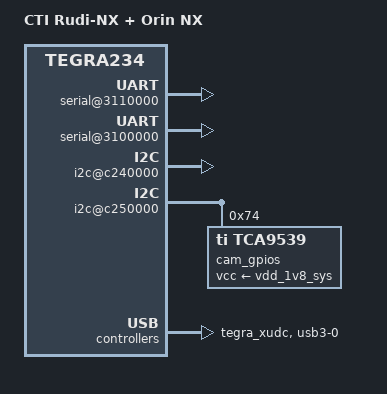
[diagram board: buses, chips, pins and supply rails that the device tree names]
/*
 * Copyright (c) 2023, Connect Tech Inc.  All rights reserved.
 *
 * This program is free software; you can redistribute it and/or modify it
 * under the terms and conditions of the GNU General Public License,
 * version 2, as published by the Free Software Foundation.
 *
 * This program is distributed in the hope it will be useful, but WITHOUT
 * ANY WARRANTY; without even the implied warranty of MERCHANTABILITY or
 * FITNESS FOR A PARTICULAR PURPOSE.  See the GNU General Public License for
 * more details.
 *
 * You should have received a copy of the GNU General Public License
 * along with this program.  If not, see <http://www.gnu.org/licenses/>.
 */

#include "tegra234-orin-nx-cti-base.dtsi"

/{
    nvidia,dtsfilename = "tegra234-orin-nx-cti-NGX010.dts";
    
    model = "CTI Rudi-NX + Orin NX";
    //enable serial connections
    // UART 0 /dev/ttyTHS1
    serial@3110000 {
        status = "okay";
    };
    // UART 1 /dev/ttyTHS0
    serial@3100000 {/* UARTA, for 40 pin header */
        status = "okay";
    };
    
    fixed-regulators {
        regulator@200 {
            /delete-property/ gpio;
        };
    };
    
    pwm-fan {
        status = "disabled";
        /delete-property/ pwms;
    };

    /**define i2c-0*/
    i2c@c240000{
		status = "okay";
		
	};

    /** define tca9539 on i2c-1*/
    i2c@c250000 {
        status = "okay";
        cam_gpios:tca9539@74{
            status = "okay";
            compatible="ti,tca9539";
            vcc-supply = <&vdd_1v8_sys>;
            gpio-controller;
            #gpio-cells=<2>;
            reg=<0x74>;
        };
    };
    
    tegra_xudc: xudc@3550000 {
		status = "okay";
		phys =	<&{/xusb_padctl@3520000/pads/usb2/lanes/usb2-0}>;
		phy-names = "usb2-0";
		nvidia,xusb-padctl = <&xusb_padctl>;
	};
    
    xusb_padctl@3520000 {
        ports {
			usb2-0 {
                connector {
                    /delete-property/ id-gpios;
                    vbus-gpios = <&tegra_main_gpio TEGRA234_MAIN_GPIO(Z,1) GPIO_ACTIVE_LOW>;
                };
               
			};
            usb3-0 {
				nvidia,usb2-companion = <2>;
				status = "okay";
			};
        };
    };

};

